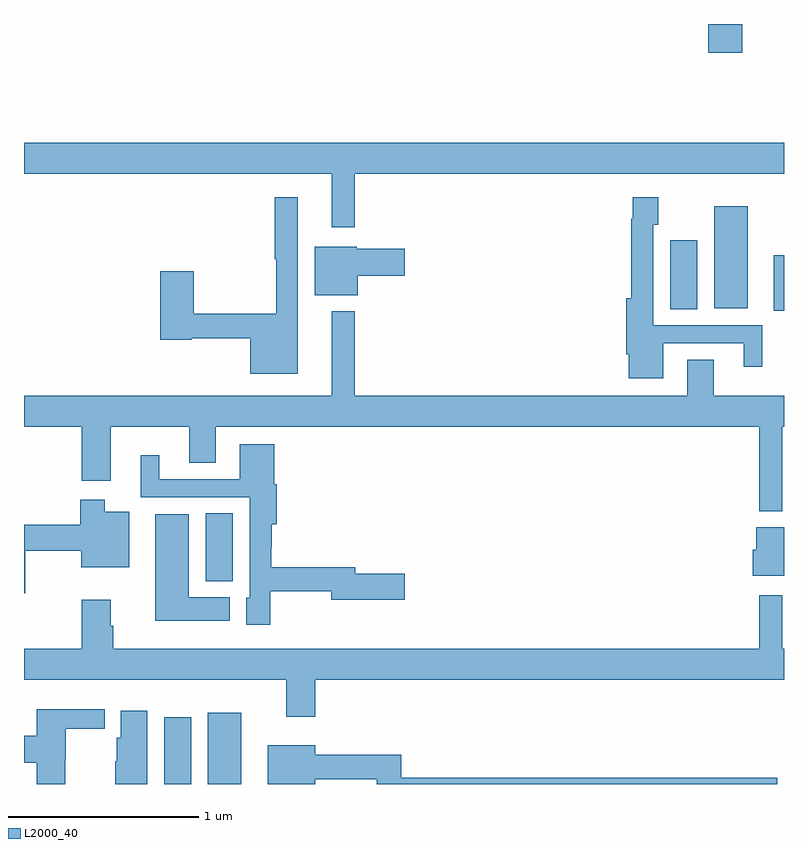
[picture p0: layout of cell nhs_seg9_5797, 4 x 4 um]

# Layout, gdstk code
import gdstk
lib = gdstk.Library(unit=1e-6, precision=1e-09)
def R(c, l, rs):  # rectangles x0, y0, x1, y1
    for r in rs: c.add(gdstk.rectangle(r[:2], r[2:], *l))
def P(c, l, *ps):  # polygons
    for p in ps: c.add(gdstk.Polygon(p, *l))
L2000_40 = (2000, 40)

nhs_seg9_5797 = lib.new_cell('nhs_seg9_5797')
R(nhs_seg9_5797, L2000_40, [(447.737,1234.5,447.88,1234.852), (447.968,1234.5,448.144,1234.876), (447.956,1235.567,448.099,1235.924), (450.947,1236.992,451,1237.282), (450.401,1237,450.544,1237.363), (450.632,1237.004,450.808,1237.54), (450.602,1238.349,450.78,1238.5)])
P(nhs_seg9_5797, L2000_40, [(448.741,1237.712),(451,1237.712),(451,1237.876),(447,1237.876),(447,1237.712),(448.619,1237.712),(448.619,1237.431),(448.741,1237.431)],
  [(448.441,1237.588),(448.32,1237.588),(448.32,1237.263),(448.327,1237.263),(448.327,1236.974),(447.894,1236.974),(447.894,1237.198),(447.716,1237.198),(447.716,1236.838),(447.882,1236.838),(447.882,1236.846),(448.19,1236.846),(448.19,1236.659),(448.441,1236.659)],
  [(450.364,1236.819),(450.788,1236.819),(450.788,1236.696),(450.886,1236.696),(450.886,1236.915),(450.312,1236.915),(450.312,1237.443),(450.339,1237.443),(450.339,1237.588),(450.204,1237.588),(450.204,1237.475),(450.196,1237.475),(450.196,1237.057),(450.17,1237.057),(450.17,1236.762),(450.182,1236.762),(450.182,1236.635),(450.364,1236.635)],
  [(448.756,1237.175),(449.005,1237.175),(449.005,1237.317),(448.752,1237.317),(448.752,1237.327),(448.529,1237.327),(448.529,1237.073),(448.756,1237.073)],
  [(450.991,1236.38),(451,1236.38),(451,1236.544),(450.631,1236.544),(450.631,1236.734),(450.491,1236.734),(450.491,1236.544),(448.741,1236.544),(448.741,1236.988),(448.619,1236.988),(448.619,1236.544),(447,1236.544),(447,1236.38),(447.305,1236.38),(447.305,1236.096),(447.457,1236.096),(447.457,1236.38),(447.869,1236.38),(447.869,1236.19),(448.009,1236.19),(448.009,1236.38),(450.87,1236.38),(450.87,1235.936),(450.991,1235.936)],
  [(448.297,1235.514),(448.616,1235.514),(448.616,1235.471),(449.005,1235.471),(449.005,1235.606),(448.744,1235.606),(448.744,1235.642),(448.3,1235.642),(448.3,1235.745),(448.304,1235.745),(448.304,1235.867),(448.331,1235.867),(448.331,1236.078),(448.318,1236.078),(448.318,1236.289),(448.136,1236.289),(448.136,1236.105),(447.712,1236.105),(447.712,1236.229),(447.614,1236.229),(447.614,1236.009),(448.188,1236.009),(448.188,1235.481),(448.169,1235.481),(448.169,1235.337),(448.297,1235.337)],
  [(447.006,1235.728),(447.302,1235.728),(447.302,1235.642),(447.553,1235.642),(447.553,1235.932),(447.424,1235.932),(447.424,1235.995),(447.295,1235.995),(447.295,1235.864),(447,1235.864),(447,1235.505),(447.006,1235.505)],
  [(448.084,1235.482),(447.868,1235.482),(447.868,1235.92),(447.692,1235.92),(447.692,1235.36),(448.084,1235.36)],
  [(451,1235.851),(450.854,1235.851),(450.854,1235.733),(450.836,1235.733),(450.836,1235.597),(451,1235.597)],
  [(448.532,1235.048),(451,1235.048),(451,1235.212),(450.991,1235.212),(450.991,1235.494),(450.87,1235.494),(450.87,1235.212),(447.47,1235.212),(447.47,1235.333),(447.457,1235.333),(447.457,1235.47),(447.305,1235.47),(447.305,1235.212),(447,1235.212),(447,1235.048),(448.379,1235.048),(448.379,1234.854),(448.532,1234.854)],
  [(447.218,1234.629),(447.22,1234.629),(447.22,1234.792),(447.424,1234.792),(447.424,1234.894),(447.068,1234.894),(447.068,1234.755),(447,1234.755),(447,1234.613),(447.068,1234.613),(447.068,1234.5),(447.218,1234.5)],
  [(447.649,1234.885),(447.509,1234.885),(447.509,1234.743),(447.488,1234.743),(447.488,1234.62),(447.479,1234.62),(447.479,1234.5),(447.649,1234.5)],
  [(448.534,1234.525),(448.857,1234.525),(448.857,1234.5),(450.964,1234.5),(450.964,1234.532),(448.985,1234.532),(448.985,1234.654),(448.534,1234.654),(448.534,1234.705),(448.283,1234.705),(448.283,1234.5),(448.534,1234.5)])

lib.write_gds('nhs_seg9_5797.gds')
